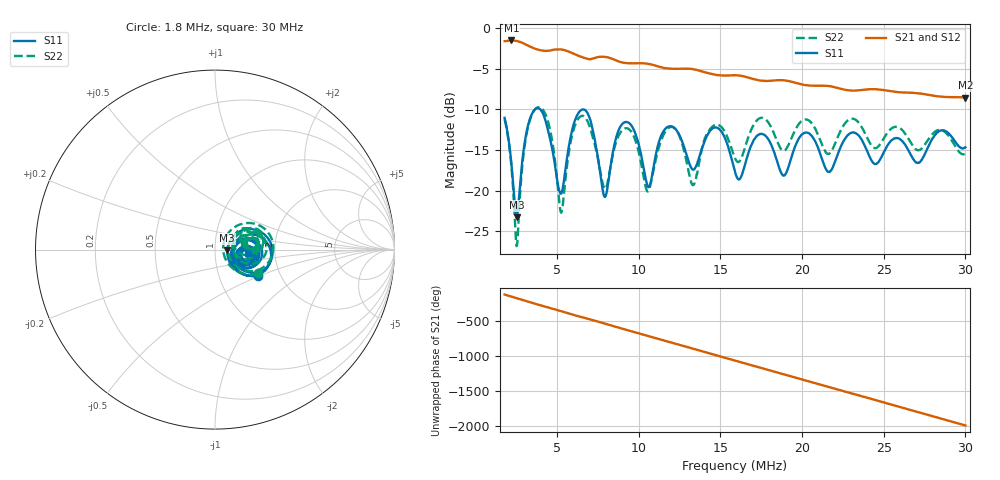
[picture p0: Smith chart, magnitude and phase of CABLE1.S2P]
!Agilent Technologies,E5061B,MY49101568,A.02.00
!Date: Mon Feb 27 18:00:48 2023
!Data & Calibration Information:
!Freq	S11:SOLT2(ON)	S21:SOLT2(ON)	S12:SOLT2(ON)	S22:SOLT2(ON)
# Hz S dB R 50
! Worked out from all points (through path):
!   1155 points, 1.8 MHz to 30 MHz, reference 50 ohm
!   highest |S21| = -1.54 dB at 2.215 MHz (marker M1); lowest = -8.6 dB at 30 MHz (marker M2)
!   group delay of S21, straight-line fit = 183 ns
!   lowest |S11| = -23.3 dB at 2.533 MHz (marker M3), VSWR 1.15, Z = 57.3 - j0.451 ohm
!   |S11| at or under -10 dB: start of sweep to 3.665 MHz; 3.976 MHz to end of sweep
!   |S22| runs from -26.8 to -9.8 dB; largest |S21 - S12| = 0.005
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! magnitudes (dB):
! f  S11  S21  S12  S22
! 1.8 MHz  -11.0  -1.6  -1.6  -11.2
! 2.215 MHz  -16.7  -1.5  -1.6  -17.0
! 2.533 MHz  -23.3  -1.6  -1.6  -26.8
! 3.022 MHz  -14.2  -2.0  -2.0  -14.5
! 3.559 MHz  -10.2  -2.5  -2.5  -10.3
! 4.439 MHz  -12.5  -2.8  -2.8  -11.4
! 5.27 MHz  -20.4  -2.6  -2.7  -22.7
! 6.516 MHz  -10.1  -3.6  -3.6  -10.8
! 7.934 MHz  -20.8  -3.6  -3.6  -19.8
! 9.033 MHz  -11.7  -4.3  -4.3  -12.5
! 10.6 MHz  -19.6  -4.4  -4.4  -20.1
! 11.21 MHz  -14.3  -4.7  -4.8  -14.9
! 12.23 MHz  -12.4  -5.0  -5.0  -12.4
! 13.33 MHz  -17.4  -5.1  -5.1  -19.3
! 14.8 MHz  -12.3  -5.8  -5.8  -11.9
! 15.9 MHz  -17.7  -5.8  -5.8  -16.0
! 17.42 MHz  -13.1  -6.5  -6.5  -11.1
! 18.88 MHz  -18.2  -6.4  -6.4  -15.1
! 20.62 MHz  -13.3  -7.1  -7.1  -11.8
! 21.64 MHz  -17.7  -7.1  -7.2  -15.5
! 25.31 MHz  -14.2  -7.7  -7.7  -12.7
! 30 MHz  -14.7  -8.6  -8.6  -15.4
